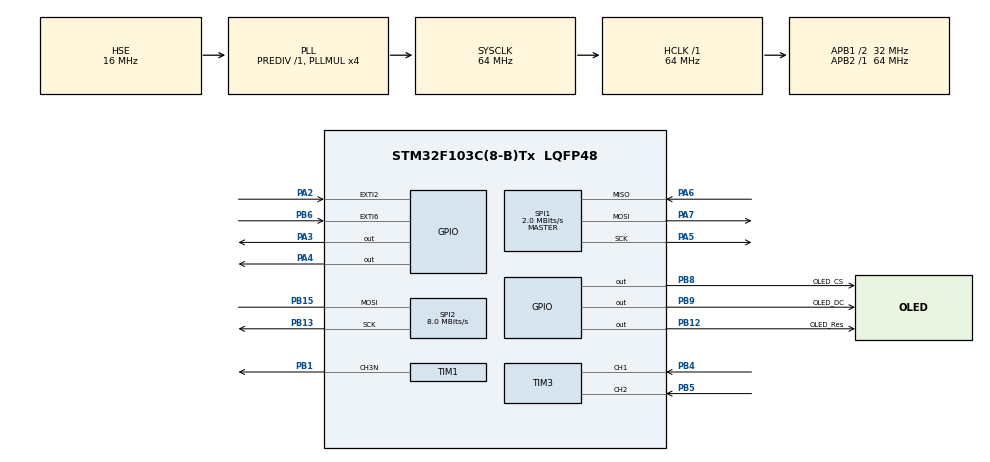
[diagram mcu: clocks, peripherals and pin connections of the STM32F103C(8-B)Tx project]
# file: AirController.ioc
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Dma.Request0=SPI2_TX
Dma.SPI2_TX.0.Direction=DMA_MEMORY_TO_PERIPH
Dma.SPI2_TX.0.Instance=DMA1_Channel5
Dma.SPI2_TX.0.MemDataAlignment=DMA_MDATAALIGN_BYTE
Dma.SPI2_TX.0.MemInc=DMA_MINC_ENABLE
Dma.SPI2_TX.0.Mode=DMA_NORMAL
Dma.SPI2_TX.0.PeriphDataAlignment=DMA_PDATAALIGN_BYTE
Dma.SPI2_TX.0.PeriphInc=DMA_PINC_DISABLE
Dma.SPI2_TX.0.Priority=DMA_PRIORITY_LOW
Mcu.Family=STM32F1
Mcu.Name=STM32F103C(8-B)Tx
Mcu.Package=LQFP48
NVIC.DMA1_Channel5_IRQn=true\:0\:0\:false\:false\:true\:false\:true\:true
NVIC.EXTI2_IRQn=true\:1\:0\:true\:false\:true\:true\:true\:true
NVIC.EXTI9_5_IRQn=true\:2\:0\:true\:false\:true\:true\:true\:true
NVIC.PriorityGroup=NVIC_PRIORITYGROUP_4
NVIC.TIM2_IRQn=true\:3\:0\:true\:false\:true\:true\:true\:true
NVIC.TIM4_IRQn=true\:3\:0\:true\:false\:true\:true\:true\:true
PA13.Mode=Serial_Wire
PA13.Signal=SYS_JTMS-SWDIO
PA14.Mode=Serial_Wire
PA14.Signal=SYS_JTCK-SWCLK
PA2.GPIO_ModeDefaultEXTI=GPIO_MODE_IT_FALLING
PA2.Signal=GPXTI2
PA3.Signal=GPIO_Output
PA4.Signal=GPIO_Output
PA5.Mode=Full_Duplex_Master
PA5.Signal=SPI1_SCK
PA6.Mode=Full_Duplex_Master
PA6.Signal=SPI1_MISO
PA7.Mode=Full_Duplex_Master
PA7.Signal=SPI1_MOSI
PB1.Mode=PWM Generation3 CH3N
PB1.Signal=TIM1_CH3N
PB12.GPIO_Label=OLED_Res
PB12.Signal=GPIO_Output
PB13.Mode=Simplex_Bidirectional_Master
PB13.Signal=SPI2_SCK
PB15.Mode=Simplex_Bidirectional_Master
PB15.Signal=SPI2_MOSI
PB4.Signal=S_TIM3_CH1
PB5.Signal=S_TIM3_CH2
PB6.GPIO_ModeDefaultEXTI=GPIO_MODE_IT_RISING_FALLING
PB6.Signal=GPXTI6
PB8.GPIO_Label=OLED_CS
PB8.Signal=GPIO_Output
PB9.GPIO_Label=OLED_DC
PB9.Signal=GPIO_Output
PC14-OSC32_IN.Mode=LSE-External-Oscillator
PC14-OSC32_IN.Signal=RCC_OSC32_IN
PC15-OSC32_OUT.Mode=LSE-External-Oscillator
PC15-OSC32_OUT.Signal=RCC_OSC32_OUT
PD0-OSC_IN.Mode=HSE-External-Oscillator
PD0-OSC_IN.Signal=RCC_OSC_IN
PD1-OSC_OUT.Mode=HSE-External-Oscillator
PD1-OSC_OUT.Signal=RCC_OSC_OUT
ProjectManager.HeapSize=0x200
ProjectManager.StackSize=0x400
ProjectManager.TargetToolchain=Makefile
RCC.AHBFreq_Value=64000000
RCC.APB1CLKDivider=RCC_HCLK_DIV2
RCC.APB1Freq_Value=32000000
RCC.APB1TimFreq_Value=64000000
RCC.APB2Freq_Value=64000000
RCC.APB2TimFreq_Value=64000000
RCC.HCLKFreq_Value=64000000
RCC.HSE_VALUE=16000000
RCC.PLLMUL=RCC_PLL_MUL4
RCC.PLLSourceVirtual=RCC_PLLSOURCE_HSE
RCC.SYSCLKFreq_VALUE=64000000
RCC.SYSCLKSource=RCC_SYSCLKSOURCE_PLLCLK
RCC.USBFreq_Value=64000000
SH.S_TIM3_CH1.0=TIM3_CH1,Encoder_Interface
SH.S_TIM3_CH2.0=TIM3_CH2,Encoder_Interface
SPI1.BaudRatePrescaler=SPI_BAUDRATEPRESCALER_32
SPI1.CalculateBaudRate=2.0 MBits/s
SPI1.Direction=SPI_DIRECTION_2LINES
SPI1.Mode=SPI_MODE_MASTER
SPI1.VirtualType=VM_MASTER
SPI2.BaudRatePrescaler=SPI_BAUDRATEPRESCALER_4
SPI2.CalculateBaudRate=8.0 MBits/s
SPI2.Direction=SPI_DIRECTION_1LINE
SPI2.Mode=SPI_MODE_MASTER
SPI2.VirtualType=VM_MASTER
TIM1.BreakPolarity=TIM_BREAKPOLARITY_LOW
TIM1.BreakState=TIM_BREAK_DISABLE
TIM1.Channel-PWM\ Generation3\ CH3N=TIM_CHANNEL_3
TIM1.Period=15999
TIM1.TIM_MasterOutputTrigger=TIM_TRGO_RESET
TIM2.Period=49
TIM2.Prescaler=63999
TIM4.Period=2000
TIM4.Prescaler=63999
VP_TIM1_VS_ClockSourceINT.Mode=Internal
VP_TIM2_VS_ClockSourceINT.Mode=Internal
VP_TIM4_VS_ClockSourceINT.Mode=Internal
board=custom

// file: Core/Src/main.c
/* USER CODE BEGIN Header */
/**
  ******************************************************************************
  * @file           : main.c
  * @brief          : Main program body
  ******************************************************************************
  * @attention
  *
  * <h2><center>&copy; Copyright (c) 2022 STMicroelectronics.
  * All rights reserved.</center></h2>
  *
  * This software component is licensed by ST under BSD 3-Clause license,
  * the "License"; You may not use this file except in compliance with the
  * License. You may obtain a copy of the License at:
  *                        opensource.org/licenses/BSD-3-Clause
  *
  ******************************************************************************
  test
  */
/* USER CODE END Header */
#include "main.h"
#include "dma.h"
#include "spi.h"
#include "tim.h"
#include "gpio.h"

/* USER CODE BEGIN Includes */
#include "encoder.h"
#include "ssd1306.h"
/* USER CODE END Includes */

/* USER CODE BEGIN PV */

uint8_t buf1[5] = {0};
uint32_t pressure[4] = {0};
uint8_t sound_time = 0;
uint8_t short_press = 0;
uint8_t long_press = 0;
/* USER CODE END PV */

void SystemClock_Config(void);

int main(void)
{
  /* USER CODE BEGIN 1 */
  uint8_t retr_cnt = 0, dt;
  extern uint16_t i, retr_cnt_full;
  /* USER CODE END 1 */

  /* MCU Configuration--------------------------------------------------------*/

  /* Reset of all peripherals, Initializes the Flash interface and the Systick. */
  HAL_Init();

  /* Configure the system clock */
  SystemClock_Config();

  /* Initialize all configured peripherals */
  MX_GPIO_Init();
  MX_DMA_Init();
  MX_SPI2_Init();
  MX_SPI1_Init();
  MX_TIM1_Init();
  MX_TIM3_Init();
  MX_TIM2_Init();
  MX_TIM4_Init();
  /* USER CODE BEGIN 2 */

  Display_Init();
  Encoder_Init();
  NRF24_ini();

  /* USER CODE END 2 */

  /* Infinite loop */
  /* USER CODE BEGIN WHILE */

  while (1)
  {

    Main_Screen();
    HAL_Delay(1000);
    NRF24L01_Send(buf1);
    retr_cnt = dt & 0xF;
    i++;
    retr_cnt_full += pressure[2];
    if (i >= 999)
      i = 1;

    /* USER CODE END WHILE */

  }
}

void SystemClock_Config(void)
{
  RCC_OscInitTypeDef RCC_OscInitStruct = {0};
  RCC_ClkInitTypeDef RCC_ClkInitStruct = {0};

  /** Initializes the RCC Oscillators according to the specified parameters
  * in the RCC_OscInitTypeDef structure.
  */
  RCC_OscInitStruct.OscillatorType = RCC_OSCILLATORTYPE_HSE;
  RCC_OscInitStruct.HSEState = RCC_HSE_ON;
  RCC_OscInitStruct.HSEPredivValue = RCC_HSE_PREDIV_DIV1;
  RCC_OscInitStruct.HSIState = RCC_HSI_ON;
  RCC_OscInitStruct.PLL.PLLState = RCC_PLL_ON;
  RCC_OscInitStruct.PLL.PLLSource = RCC_PLLSOURCE_HSE;
  RCC_OscInitStruct.PLL.PLLMUL = RCC_PLL_MUL4;
  if (HAL_RCC_OscConfig(&RCC_OscInitStruct) != HAL_OK)
  {
    Error_Handler();
  }

  /** Initializes the CPU, AHB and APB buses clocks
  */
  RCC_ClkInitStruct.ClockType = RCC_CLOCKTYPE_HCLK|RCC_CLOCKTYPE_SYSCLK
                              |RCC_CLOCKTYPE_PCLK1|RCC_CLOCKTYPE_PCLK2;
  RCC_ClkInitStruct.SYSCLKSource = RCC_SYSCLKSOURCE_PLLCLK;
  RCC_ClkInitStruct.AHBCLKDivider = RCC_SYSCLK_DIV1;
  RCC_ClkInitStruct.APB1CLKDivider = RCC_HCLK_DIV2;
  RCC_ClkInitStruct.APB2CLKDivider = RCC_HCLK_DIV1;

  if (HAL_RCC_ClockConfig(&RCC_ClkInitStruct, FLASH_LATENCY_2) != HAL_OK)
  {
    Error_Handler();
  }
}

/* USER CODE BEGIN 4 */
void HAL_GPIO_EXTI_Callback(uint16_t GPIO_Pin)
{

  if (GPIO_Pin == GPIO_PIN_2)
  {
    NRF24L01_IT();
  }

  else if (GPIO_Pin == GPIO_PIN_6)
  {

    if(!(GPIOB -> IDR & GPIO_PIN_6))
    {
      HAL_TIM_Base_Start_IT(&htim4);
      HAL_TIM_Base_Start_IT(&htim2);

      HAL_TIM_PWM_Start(&htim1, TIM_CHANNEL_3);
      TIM1->CCER |= 0x400;
      sound_time = 1;
    }

    else
    {
      HAL_TIM_Base_Stop_IT(&htim4);
      TIM4->CNT = 0;
      short_press = 1;
    }
  }
}

void HAL_SPI_TxCpltCallback(SPI_HandleTypeDef *hspi)
{
  if (hspi->Instance == SPI2)
    HAL_GPIO_WritePin(SSD1306_CS_Port, SSD1306_CS_Pin, GPIO_PIN_SET);
}

void HAL_TIM_PeriodElapsedCallback(TIM_HandleTypeDef *htim)
{
        if(htim->Instance == TIM2) //check if the interrupt comes from TIM2
        {
          //HAL_TIM_PWM_Stop(&htim1, TIM_CHANNEL_3);
          HAL_TIM_Base_Start_IT(&htim2);
          if(sound_time > 0)
          {
            sound_time--;
          }
          else
          {
            TIM1->CCER &= ~0x400;
            HAL_TIM_Base_Stop_IT(&htim2);
          }
        }

        else if(htim->Instance == TIM4) //check if the interrupt comes from TIM2
        {
          //HAL_TIM_PWM_Stop(&htim1, TIM_CHANNEL_3);
          if(!(GPIOB -> IDR & GPIO_PIN_6))
          {
            long_press = 1;
            HAL_TIM_Base_Start_IT(&htim2);
            HAL_TIM_PWM_Start(&htim1, TIM_CHANNEL_3);
            TIM1->CCER |= 0x400;
            sound_time = 5;
          }

        }
}

/* USER CODE END 4 */

void Error_Handler(void)
{
}
